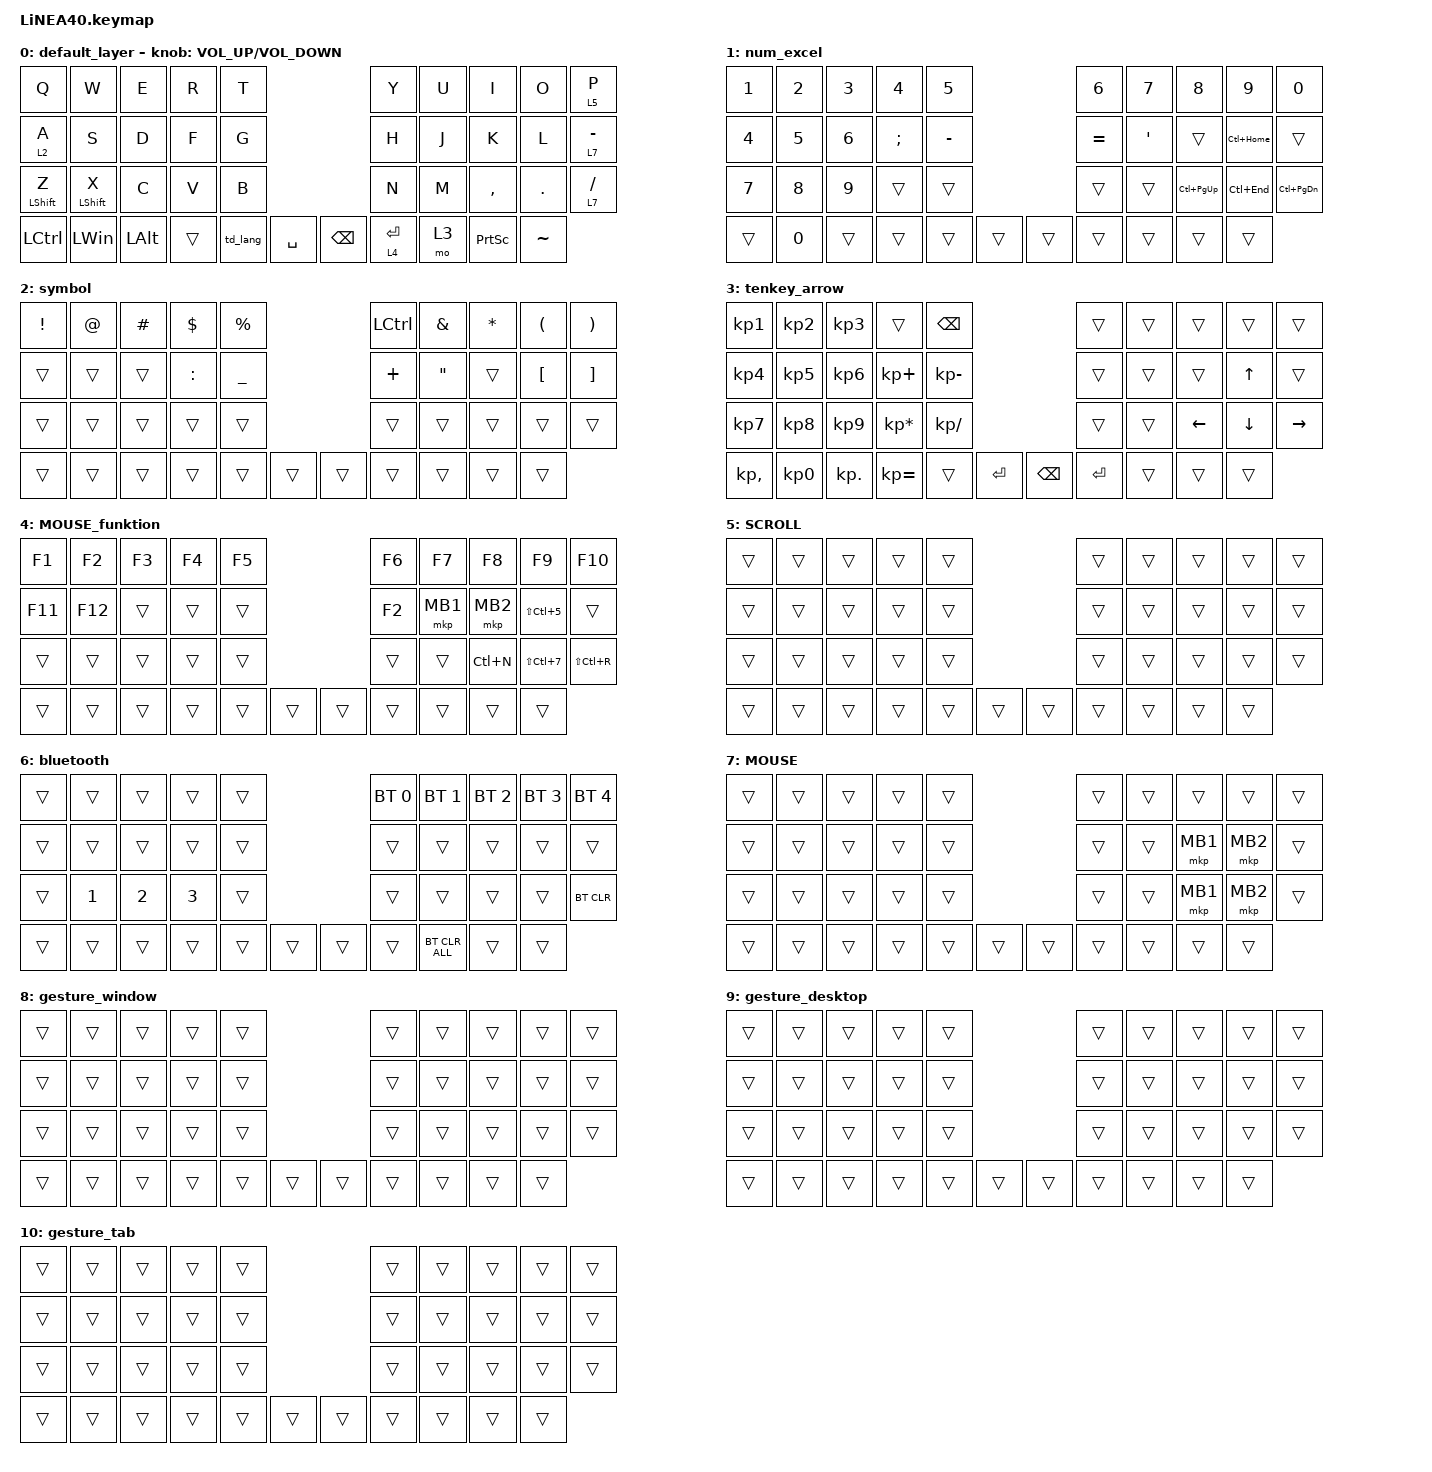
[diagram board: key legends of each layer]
#define ZMK_POINTING_DEFAULT_SCRL_VAL 150

#include <dt-bindings/zmk/input_transform.h>
#include <input/processors.dtsi>
#include <zephyr/dt-bindings/input/input-event-codes.h>
#include <dt-bindings/zmk/mouse-gesture.h>
#include <behaviors.dtsi>
#include <dt-bindings/zmk/bt.h>
#include <dt-bindings/zmk/keys.h>
#include <dt-bindings/zmk/pointing.h>

&mt {
    flavor = "balanced";
    quick-tap-ms = <0>;
};

#define MOUSE 1
#define MARK 2
#define CURSOR 3
#define FUNCTION 4
#define SCROLL 5
#define WIRELESS 6

//mouse cursol

&mmv {
    delay-ms = <20>;
    trigger-period-ms = <5>;
    time-to-max-speed-ms = <100>;
    acceleration-exponent = <2>;
};

//mouse scroll

&msc {
    delay-ms = <3>;
    trigger-period-ms = <3>;
    time-to-max-speed-ms = <100>;
    acceleration-exponent = <0>;
};

/ {
    input_processors {
        zip_wheel_scaler: zip_wheel_scaler {
            compatible = "zmk,input-processor-scaler";
            #input-processor-cells = <2>;
            type = <INPUT_EV_REL>;
            codes = <INPUT_REL_WHEEL>;
            track-remainders;
        };
    };

    // roBa-compatible trackball gestures (window snap / virtual desktop / tab switching),
    // reimplemented via kot149/zmk-mouse-gesture since this board's pmw3610 driver (inorichi
    // fork) has no built-in gesture support like roBa's pmw3610 driver (kumamuk fork). Wired
    // to layers 8/9/10 on &trackball_listener below.

    zip_mouse_gesture_window: zip_mouse_gesture_window {
        compatible = "zmk,input-processor-mouse-gesture";
        #input-processor-cells = <0>;
        stroke-size = <300>;
        always-active;
        suppress-movement;

        right {
            pattern = <GESTURE_RIGHT>;
            bindings = <&kp LG(RIGHT_ARROW)>;
            wait-ms = <5>;
            tap-ms = <5>;
        };

        left {
            pattern = <GESTURE_LEFT>;
            bindings = <&kp LG(LEFT_ARROW)>;
            wait-ms = <5>;
            tap-ms = <5>;
        };

        up {
            pattern = <GESTURE_UP>;
            bindings = <&kp LG(UP_ARROW)>;
            wait-ms = <5>;
            tap-ms = <5>;
        };

        down {
            pattern = <GESTURE_DOWN>;
            bindings = <&kp LG(DOWN_ARROW)>;
            wait-ms = <5>;
            tap-ms = <5>;
        };
    };

    zip_mouse_gesture_desktop: zip_mouse_gesture_desktop {
        compatible = "zmk,input-processor-mouse-gesture";
        #input-processor-cells = <0>;
        stroke-size = <300>;
        always-active;
        suppress-movement;

        right {
            pattern = <GESTURE_RIGHT>;
            bindings = <&kp LC(LS(F2))>;
            wait-ms = <5>;
            tap-ms = <5>;
        };

        left {
            pattern = <GESTURE_LEFT>;
            bindings = <&kp LC(LS(F1))>;
            wait-ms = <5>;
            tap-ms = <5>;
        };

        up {
            pattern = <GESTURE_UP>;
            bindings = <&kp LC(LS(F3))>;
            wait-ms = <5>;
            tap-ms = <5>;
        };

        down {
            pattern = <GESTURE_DOWN>;
            bindings = <&kp LC(LS(F4))>;
            wait-ms = <5>;
            tap-ms = <5>;
        };
    };

    zip_mouse_gesture_tab: zip_mouse_gesture_tab {
        compatible = "zmk,input-processor-mouse-gesture";
        #input-processor-cells = <0>;
        stroke-size = <300>;
        always-active;
        suppress-movement;

        right {
            pattern = <GESTURE_RIGHT>;
            bindings = <&kp LC(TAB)>;
            wait-ms = <5>;
            tap-ms = <5>;
        };

        left {
            pattern = <GESTURE_LEFT>;
            bindings = <&kp LC(LS(TAB))>;
            wait-ms = <5>;
            tap-ms = <5>;
        };

        up {
            pattern = <GESTURE_UP>;
            bindings = <&kp LC(T)>;
            wait-ms = <5>;
            tap-ms = <5>;
        };

        down {
            pattern = <GESTURE_DOWN>;
            bindings = <&kp LC(W)>;
            wait-ms = <5>;
            tap-ms = <5>;
        };
    };
};

&msc_input_listener {
    speed_up {
        layers = <FUNCTION>;
        input-processors = <&zip_wheel_scaler 3 1>; //スクロールを3倍速にする
    };
};

&trackball_listener {
    scroller {
        layers = <SCROLL>;
        input-processors =
            <&zip_xy_transform INPUT_TRANSFORM_Y_INVERT>,
            //スクロール方向を逆転,,,,,,,
            <&zip_xy_to_scroll_mapper>;
    };

    gesture_window {
        layers = <8>;
        input-processors = <&zip_mouse_gesture_window>;
    };

    gesture_desktop {
        layers = <9>;
        input-processors = <&zip_mouse_gesture_desktop>;
    };

    gesture_tab {
        layers = <10>;
        input-processors = <&zip_mouse_gesture_tab>;
    };
};

/ {
    combos {
        compatible = "zmk,combos";

        tab {
            bindings = <&kp TAB>;
            key-positions = <0 1>;
        };

        shift_tab {
            bindings = <&kp LS(TAB)>;
            key-positions = <10 11>;
        };

        bluetooth {
            bindings = <&mo 6>;
            key-positions = <35 36>;
        };

        to_L8 {
            bindings = <&mo 8>;
            key-positions = <8 9>;
        };

        to_L9 {
            bindings = <&lt 9 LC(LG(RIGHT_ARROW))>;
            key-positions = <18 19>;
        };

        to_L10 {
            bindings = <&mo 10>;
            key-positions = <28 29>;
        };

        delete {
            bindings = <&kp DELETE>;
            key-positions = <36 25>;
        };

        esc {
            bindings = <&kp ESCAPE>;
            key-positions = <1 2>;
        };

        home {
            bindings = <&kp HOME>;
            key-positions = <15 16>;
        };

        end {
            bindings = <&kp END>;
            key-positions = <25 26>;
        };
    };

    macros {
        to_layer_0: to_layer_0 {
            compatible = "zmk,behavior-macro-one-param";
            #binding-cells = <1>;
            bindings = <&to 0 &macro_param_1to1 &kp MACRO_PLACEHOLDER>;
            label = "TO_LAYER_0";
        };
    };

    behaviors {
        re_kp: sensor_rotate_kp {
            compatible = "zmk,behavior-sensor-rotate-var";
            #sensor-binding-cells = <2>;
            bindings = <&kp>, <&kp>;
        };

        mouse_scrl: mouse_wheel_scrl {
            compatible = "zmk,behavior-sensor-rotate-var";
            #sensor-binding-cells = <2>;
            bindings = <&msc>, <&msc>;

            tap-ms = <20>;
        };

        lt_to_layer_0: lt_to_layer_0 {
            compatible = "zmk,behavior-hold-tap";
            label = "LAYER_TAP_TO_0";
            bindings = <&mo>, <&to_layer_0>;

            #binding-cells = <2>;
            tapping-term-ms = <200>;
        };

        td_lang: td_lang {
            compatible = "zmk,behavior-tap-dance";
            label = "TD_LANG";
            #binding-cells = <0>;
            bindings = <&lt 1 LANGUAGE_2>, <&kp LANGUAGE_1>;

            tapping-term-ms = <200>;
        };

        lt_layer: lt_layer {
            compatible = "zmk,behavior-hold-tap";
            label = "LT_LAYER";
            #binding-cells = <2>;
            bindings = <&mo>, <&tog>;

            tapping-term-ms = <200>;
            flavor = "balanced";
        };
    };

    keymap {
        compatible = "zmk,keymap";

        default_layer {
            bindings = <
&kp Q             &kp W             &kp E         &kp R   &kp T                                 &kp Y        &kp U  &kp I      &kp O            &lt 5 P
&lt 2 A           &kp S             &kp D         &kp F   &kp G                                 &kp H        &kp J  &kp K      &kp L            &lt 7 MINUS
&mt LEFT_SHIFT Z  &mt LEFT_SHIFT X  &kp C         &kp V   &kp B                                 &kp N        &kp M  &kp COMMA  &kp DOT          &lt 7 SLASH
&kp LCTRL         &kp LEFT_WIN      &kp LEFT_ALT  &trans  &td_lang  &kp SPACE    &kp BACKSPACE  &lt 4 ENTER         &mo 3      &kp PRINTSCREEN  &kp TILDE
            >;

            sensor-bindings = <&inc_dec_kp K_VOLUME_UP K_VOLUME_DOWN>;
        };

        //1

        num_excel {
            bindings = <
&kp N1        &kp N2  &kp N3        &kp N4         &kp N5                       &kp N6     &kp N7   &kp N8         &kp N9        &kp N0
&kp NUMBER_4  &kp N5  &kp NUMBER_6  &kp SEMICOLON  &kp MINUS                    &kp EQUAL  &kp SQT  &trans         &kp LC(HOME)  &trans
&kp N7        &kp N8  &kp N9        &trans         &trans                       &trans     &trans   &kp LC(PG_UP)  &kp LC(END)   &kp LC(PAGE_DOWN)
&trans        &kp N0  &trans        &trans         &trans     &trans    &trans  &trans              &trans         &trans        &trans
            >;
        };

        //2

        symbol {
            bindings = <
&kp EXCLAMATION  &kp AT_SIGN  &kp HASH  &kp DOLLAR  &kp PERCENT                       &kp LCTRL  &kp AMPERSAND      &kp ASTERISK  &kp LEFT_PARENTHESIS  &kp RIGHT_PARENTHESIS
&trans           &trans       &trans    &kp COLON   &kp UNDERSCORE                    &kp PLUS   &kp DOUBLE_QUOTES  &trans        &kp LEFT_BRACKET      &kp RIGHT_BRACKET
&trans           &trans       &trans    &trans      &trans                            &trans     &trans             &trans        &trans                &trans
&trans           &trans       &trans    &trans      &trans          &trans    &trans  &trans                        &trans        &trans                &trans
            >;
        };

        //3

        tenkey_arrow {
            bindings = <
&kp KP_NUMBER_1  &kp KP_NUMBER_2  &kp KP_NUMBER_3  &trans           &kp BACKSPACE                              &trans     &trans  &trans    &trans          &trans
&kp KP_NUMBER_4  &kp KP_NUMBER_5  &kp KP_NUMBER_6  &kp KP_PLUS      &kp KP_MINUS                               &trans     &trans  &trans    &kp UP_ARROW    &trans
&kp KP_NUMBER_7  &kp KP_NUMBER_8  &kp KP_NUMBER_9  &kp KP_MULTIPLY  &kp KP_SLASH                               &trans     &trans  &kp LEFT  &kp DOWN_ARROW  &kp RIGHT
&kp KP_COMMA     &kp KP_NUMBER_0  &kp KP_DOT       &kp KP_EQUAL     &trans         &kp ENTER    &kp BACKSPACE  &kp ENTER          &trans    &trans          &trans
            >;
        };

        //4

        MOUSE_funktion {
            bindings = <
&kp F1   &kp F2   &kp F3  &kp F4  &kp F5                    &kp F6  &kp F7    &kp F8     &kp F9          &kp F10
&kp F11  &kp F12  &trans  &trans  &trans                    &kp F2  &mkp MB1  &mkp MB2   &kp LS(LC(N5))  &trans
&trans   &trans   &trans  &trans  &trans                    &trans  &trans    &kp LC(N)  &kp LS(LC(N7))  &kp LS(LC(R))
&trans   &trans   &trans  &trans  &trans  &trans    &trans  &trans            &trans     &trans          &trans
            >;
        };

        //5

        SCROLL {
            bindings = <
&trans  &trans  &trans  &trans  &trans                    &trans  &trans  &trans  &trans  &trans
&trans  &trans  &trans  &trans  &trans                    &trans  &trans  &trans  &trans  &trans
&trans  &trans  &trans  &trans  &trans                    &trans  &trans  &trans  &trans  &trans
&trans  &trans  &trans  &trans  &trans  &trans    &trans  &trans          &trans  &trans  &trans
            >;
        };

        //6

        bluetooth {
            bindings = <
&trans  &trans        &trans        &trans        &trans                    &bt BT_SEL 0  &bt BT_SEL 1  &bt BT_SEL 2    &bt BT_SEL 3  &bt BT_SEL 4
&trans  &trans        &trans        &trans        &trans                    &trans        &trans        &trans          &trans        &trans
&trans  &kp NUMBER_1  &kp NUMBER_2  &kp NUMBER_3  &trans                    &trans        &trans        &trans          &trans        &bt BT_CLR
&trans  &trans        &trans        &trans        &trans  &trans    &trans  &trans                      &bt BT_CLR_ALL  &trans        &trans
            >;
        };

        //7

        MOUSE {
            bindings = <
&trans  &trans  &trans  &trans  &trans                    &trans  &trans  &trans    &trans    &trans
&trans  &trans  &trans  &trans  &trans                    &trans  &trans  &mkp MB1  &mkp MB2  &trans
&trans  &trans  &trans  &trans  &trans                    &trans  &trans  &mkp MB1  &mkp MB2  &trans
&trans  &trans  &trans  &trans  &trans  &trans    &trans  &trans          &trans    &trans    &trans
            >;
        };

        //8

        gesture_window {
            bindings = <
&trans  &trans  &trans  &trans  &trans                    &trans  &trans  &trans  &trans  &trans
&trans  &trans  &trans  &trans  &trans                    &trans  &trans  &trans  &trans  &trans
&trans  &trans  &trans  &trans  &trans                    &trans  &trans  &trans  &trans  &trans
&trans  &trans  &trans  &trans  &trans  &trans    &trans  &trans          &trans  &trans  &trans
            >;
        };

        //9

        gesture_desktop {
            bindings = <
&trans  &trans  &trans  &trans  &trans                    &trans  &trans  &trans  &trans  &trans
&trans  &trans  &trans  &trans  &trans                    &trans  &trans  &trans  &trans  &trans
&trans  &trans  &trans  &trans  &trans                    &trans  &trans  &trans  &trans  &trans
&trans  &trans  &trans  &trans  &trans  &trans    &trans  &trans          &trans  &trans  &trans
            >;
        };

        //10

        gesture_tab {
            bindings = <
&trans  &trans  &trans  &trans  &trans                    &trans  &trans  &trans  &trans  &trans
&trans  &trans  &trans  &trans  &trans                    &trans  &trans  &trans  &trans  &trans
&trans  &trans  &trans  &trans  &trans                    &trans  &trans  &trans  &trans  &trans
&trans  &trans  &trans  &trans  &trans  &trans    &trans  &trans          &trans  &trans  &trans
            >;
        };
    };
};
